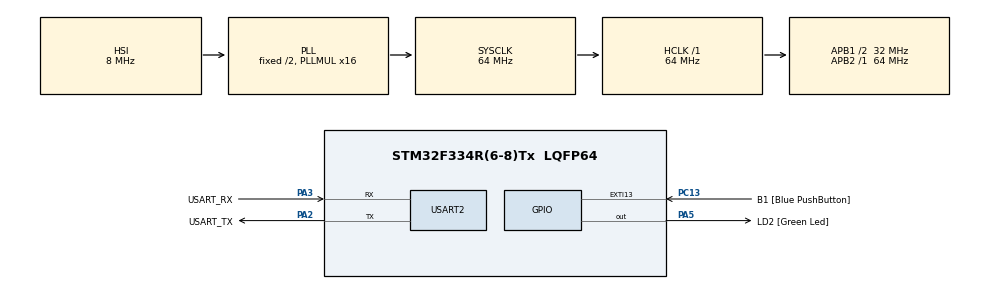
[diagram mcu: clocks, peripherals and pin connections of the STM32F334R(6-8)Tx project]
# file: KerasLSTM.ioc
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Mcu.Family=STM32F3
Mcu.Name=STM32F334R(6-8)Tx
Mcu.Package=LQFP64
NVIC.PriorityGroup=NVIC_PRIORITYGROUP_0
PA13.GPIO_Label=TMS
PA13.Mode=Serial_Wire
PA13.Signal=SYS_JTMS-SWDIO
PA14.GPIO_Label=TCK
PA14.Mode=Serial_Wire
PA14.Signal=SYS_JTCK-SWCLK
PA2.GPIO_Label=USART_TX
PA2.Mode=Asynchronous
PA2.Signal=USART2_TX
PA3.GPIO_Label=USART_RX
PA3.Mode=Asynchronous
PA3.Signal=USART2_RX
PA5.GPIO_Label=LD2 [Green Led]
PA5.Signal=GPIO_Output
PB3.GPIO_Label=SWO
PB3.Signal=SYS_JTDO-TRACESWO
PC13.GPIO_Label=B1 [Blue PushButton]
PC13.GPIO_ModeDefaultEXTI=GPIO_MODE_IT_FALLING
PC13.Signal=GPXTI13
PC14\ /\ OSC32_IN.Mode=LSE-External-Oscillator
PC14\ /\ OSC32_IN.Signal=RCC_OSC32_IN
PC15\ /\ OSC32_OUT.GPIO_Label=RCC_OSC32_OUT
PC15\ /\ OSC32_OUT.Mode=LSE-External-Oscillator
PC15\ /\ OSC32_OUT.Signal=RCC_OSC32_OUT
PF0\ /\ OSC_IN.Mode=HSE-External-Clock-Source
PF0\ /\ OSC_IN.Signal=RCC_OSC_IN
PF1\ /\ OSC_OUT.Signal=RCC_OSC_OUT
ProjectManager.HeapSize=0x800
ProjectManager.StackSize=0x800
ProjectManager.TargetToolchain=STM32CubeIDE
RCC.AHBFreq_Value=64000000
RCC.APB1CLKDivider=RCC_HCLK_DIV2
RCC.APB1Freq_Value=32000000
RCC.APB1TimFreq_Value=64000000
RCC.APB2Freq_Value=64000000
RCC.APB2TimFreq_Value=64000000
RCC.CortexFreq_Value=64000000
RCC.FLatency-AdvancedSettings=FLASH_LATENCY_2
RCC.HCLKFreq_Value=64000000
RCC.HSE_VALUE=8000000
RCC.HSI_VALUE=8000000
RCC.PLLMUL=RCC_PLL_MUL16
RCC.SYSCLKFreq_VALUE=64000000
RCC.SYSCLKSourceVirtual=RCC_SYSCLKSOURCE_PLLCLK
STMicroelectronics.X-CUBE-AI.8.1.0.ActivationBufferSizeList=3789
STMicroelectronics.X-CUBE-AI.8.1.0.ActivationBuffers=pool0
STMicroelectronics.X-CUBE-AI.8.1.0.ActivationNames=pool0
STMicroelectronics.X-CUBE-AI.8.1.0.ActivationSizes=AI_NETWORK_DATA_ACTIVATION_1_SIZE
STMicroelectronics.X-CUBE-AI.8.1.0.HeapSize=0x800
STMicroelectronics.X-CUBE-AI.8.1.0.InternalRamActivationBufferMaxSize=AI_NETWORK_DATA_ACTIVATIONS_SIZE
STMicroelectronics.X-CUBE-AI.8.1.0.LatestDirectoryUsed-d32e8fefee8304788caedcbb206e30d5a77a8f6bcf1bcf1f12cf88c9c6789609=/home/bernhard/Documents/uni/bachelor_thesis/models
STMicroelectronics.X-CUBE-AI.8.1.0.MaximumNumberOfInputLayer=1
STMicroelectronics.X-CUBE-AI.8.1.0.MaximumNumberOfOutputLayer=1
STMicroelectronics.X-CUBE-AI.8.1.0.MaximumSizeOfInputLayer=AI_NETWORK_IN_1_SIZE_BYTES
STMicroelectronics.X-CUBE-AI.8.1.0.MaximumSizeOfOutputLayer=AI_NETWORK_OUT_1_SIZE_BYTES
STMicroelectronics.X-CUBE-AI.8.1.0.ModelActualCompression-d32e8fefee8304788caedcbb206e30d5a77a8f6bcf1bcf1f12cf88c9c6789609=0.0
STMicroelectronics.X-CUBE-AI.8.1.0.ModelCompression-d32e8fefee8304788caedcbb206e30d5a77a8f6bcf1bcf1f12cf88c9c6789609=None
STMicroelectronics.X-CUBE-AI.8.1.0.ModelFlashOccupation-d32e8fefee8304788caedcbb206e30d5a77a8f6bcf1bcf1f12cf88c9c6789609=35745
STMicroelectronics.X-CUBE-AI.8.1.0.ModelHashList=d32e8fefee8304788caedcbb206e30d5a77a8f6bcf1bcf1f12cf88c9c6789609
STMicroelectronics.X-CUBE-AI.8.1.0.ModelKind-d32e8fefee8304788caedcbb206e30d5a77a8f6bcf1bcf1f12cf88c9c6789609=KERAS
STMicroelectronics.X-CUBE-AI.8.1.0.ModelMacc-d32e8fefee8304788caedcbb206e30d5a77a8f6bcf1bcf1f12cf88c9c6789609=1253920
STMicroelectronics.X-CUBE-AI.8.1.0.ModelName-d32e8fefee8304788caedcbb206e30d5a77a8f6bcf1bcf1f12cf88c9c6789609=network
STMicroelectronics.X-CUBE-AI.8.1.0.ModelNameList=network
STMicroelectronics.X-CUBE-AI.8.1.0.ModelRamOccupation-d32e8fefee8304788caedcbb206e30d5a77a8f6bcf1bcf1f12cf88c9c6789609=3789
STMicroelectronics.X-CUBE-AI.8.1.0.ModelStructureFile-d32e8fefee8304788caedcbb206e30d5a77a8f6bcf1bcf1f12cf88c9c6789609=/home/bernhard/Documents/uni/bachelor_thesis/models/batch1_vanilla_lstm1_Coffee.h5
STMicroelectronics.X-CUBE-AI.8.1.0.ModelType-d32e8fefee8304788caedcbb206e30d5a77a8f6bcf1bcf1f12cf88c9c6789609=Saved model
STMicroelectronics.X-CUBE-AI.8.1.0.ReadyForCodeGeneration=true
STMicroelectronics.X-CUBE-AI.8.1.0.StackSize=0x800
STMicroelectronics.X-CUBE-AI.8.1.0.WorkingBufferStartAddrList=0xFFFFFFFF
STMicroelectronics.X-CUBE-AI.8.1.0.XAaCUBEAaAICcArtificialOoIntelligenceJjCore=true
STMicroelectronics.X-CUBE-AI.8.1.0.copyWeightToRam=false
STMicroelectronics.X-CUBE-AI.8.1.0.copyWeightToRam-d32e8fefee8304788caedcbb206e30d5a77a8f6bcf1bcf1f12cf88c9c6789609=false
STMicroelectronics.X-CUBE-AI.8.1.0.customLayerConfigEnabled=false
STMicroelectronics.X-CUBE-AI.8.1.0.customLayerConfigEnabled-d32e8fefee8304788caedcbb206e30d5a77a8f6bcf1bcf1f12cf88c9c6789609=false
STMicroelectronics.X-CUBE-AI.8.1.0.noOnnxIoTranspose=false
STMicroelectronics.X-CUBE-AI.8.1.0.noOnnxIoTranspose-d32e8fefee8304788caedcbb206e30d5a77a8f6bcf1bcf1f12cf88c9c6789609=false
STMicroelectronics.X-CUBE-AI.8.1.0.useInputAllocation=true
STMicroelectronics.X-CUBE-AI.8.1.0.useInputAllocation-d32e8fefee8304788caedcbb206e30d5a77a8f6bcf1bcf1f12cf88c9c6789609=false
STMicroelectronics.X-CUBE-AI.8.1.0.useOutputAllocation=true
STMicroelectronics.X-CUBE-AI.8.1.0.useOutputAllocation-d32e8fefee8304788caedcbb206e30d5a77a8f6bcf1bcf1f12cf88c9c6789609=false
USART2.VirtualMode-Asynchronous=VM_ASYNC
VP_CRC_VS_CRC.Mode=CRC_Activate
VP_STMicroelectronics.X-CUBE-AI_VS_ArtificialOoIntelligenceJjXAaCUBEAaAI_8.1.0.Mode=ArtificialOoIntelligenceJjXAaCUBEAaAI
board=NUCLEO-F334R8

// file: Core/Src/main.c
/* USER CODE BEGIN Header */
/**
  ******************************************************************************
  * @file           : main.c
  * @brief          : Main program body
  ******************************************************************************
  * @attention
  *
  * Copyright (c) 2024 STMicroelectronics.
  * All rights reserved.
  *
  * This software is licensed under terms that can be found in the LICENSE file
  * in the root directory of this software component.
  * If no LICENSE file comes with this software, it is provided AS-IS.
  *
  ******************************************************************************
  */
/* USER CODE END Header */
#include "main.h"

/* USER CODE BEGIN Includes */
#include "network.h"
#include "network_data.h"
#include "stdlib.h"
#include "stdio.h"
/* USER CODE END Includes */

CRC_HandleTypeDef hcrc;

UART_HandleTypeDef huart2;

/* USER CODE BEGIN PV */
static ai_handle network = AI_HANDLE_NULL;

static ai_u8 activations[AI_NETWORK_DATA_ACTIVATIONS_SIZE];
static ai_float in_data[AI_NETWORK_IN_1_SIZE];
static ai_float out_data[AI_NETWORK_OUT_1_SIZE];

static ai_buffer *ai_input;
static ai_buffer *ai_output;

/* USER CODE END PV */

void SystemClock_Config(void);
static void MX_GPIO_Init(void);
static void MX_CRC_Init(void);
static void MX_USART2_UART_Init(void);

/* USER CODE BEGIN 0 */

void get_input()
{
    for(int i=0; i<AI_NETWORK_IN_1_SIZE; i++)
    {
        in_data[i] = 1.0;
    }
}

void ai_log_error(const ai_error err)
{
  printf("E: AI error - type=%d code=%d\r\n", err.type, err.code);
}

int ai_init()
{
    ai_error error;
    const ai_handle acts[] = {activations};

    error = ai_network_create_and_init(&network, acts, NULL);
    if (error.type != AI_ERROR_NONE)
    {
        ai_log_error(error);
        return -1;
    }

    ai_input = ai_network_inputs_get(network, NULL);
    ai_output = ai_network_outputs_get(network, NULL);

    return 0;
}

int ai_run(const void* in_data, const void* out_data)
{
    ai_i32 n_batch;
    ai_error error;

    ai_input[0].data = AI_HANDLE_PTR(in_data);
    ai_output[0].data = AI_HANDLE_PTR(out_data);

    n_batch = ai_network_run(network, &ai_input[0], &ai_output[0]);
    if (n_batch != 1)
    {
        error = ai_network_get_error(network);
        ai_log_error(error);
        return -1;
    }

    return 0;
}
/* USER CODE END 0 */

int main(void)
{

  /* MCU Configuration--------------------------------------------------------*/

  /* Reset of all peripherals, Initializes the Flash interface and the Systick. */
  HAL_Init();

  /* Configure the system clock */
  SystemClock_Config();

  /* Initialize all configured peripherals */
  MX_GPIO_Init();
  MX_CRC_Init();
  MX_USART2_UART_Init();
  /* USER CODE BEGIN 2 */
  ai_init();
  /* USER CODE END 2 */

  /* Infinite loop */
  while (1)
  {
	  get_input();
	  ai_run(in_data, out_data);
  }
}

void SystemClock_Config(void)
{
  RCC_OscInitTypeDef RCC_OscInitStruct = {0};
  RCC_ClkInitTypeDef RCC_ClkInitStruct = {0};

  /** Initializes the RCC Oscillators according to the specified parameters
  * in the RCC_OscInitTypeDef structure.
  */
  RCC_OscInitStruct.OscillatorType = RCC_OSCILLATORTYPE_HSI;
  RCC_OscInitStruct.HSIState = RCC_HSI_ON;
  RCC_OscInitStruct.HSICalibrationValue = RCC_HSICALIBRATION_DEFAULT;
  RCC_OscInitStruct.PLL.PLLState = RCC_PLL_ON;
  RCC_OscInitStruct.PLL.PLLSource = RCC_PLLSOURCE_HSI;
  RCC_OscInitStruct.PLL.PLLMUL = RCC_PLL_MUL16;
  if (HAL_RCC_OscConfig(&RCC_OscInitStruct) != HAL_OK)
  {
    Error_Handler();
  }

  /** Initializes the CPU, AHB and APB buses clocks
  */
  RCC_ClkInitStruct.ClockType = RCC_CLOCKTYPE_HCLK|RCC_CLOCKTYPE_SYSCLK
                              |RCC_CLOCKTYPE_PCLK1|RCC_CLOCKTYPE_PCLK2;
  RCC_ClkInitStruct.SYSCLKSource = RCC_SYSCLKSOURCE_PLLCLK;
  RCC_ClkInitStruct.AHBCLKDivider = RCC_SYSCLK_DIV1;
  RCC_ClkInitStruct.APB1CLKDivider = RCC_HCLK_DIV2;
  RCC_ClkInitStruct.APB2CLKDivider = RCC_HCLK_DIV1;

  if (HAL_RCC_ClockConfig(&RCC_ClkInitStruct, FLASH_LATENCY_2) != HAL_OK)
  {
    Error_Handler();
  }
}

static void MX_CRC_Init(void)
{

  hcrc.Instance = CRC;
  hcrc.Init.DefaultPolynomialUse = DEFAULT_POLYNOMIAL_ENABLE;
  hcrc.Init.DefaultInitValueUse = DEFAULT_INIT_VALUE_ENABLE;
  hcrc.Init.InputDataInversionMode = CRC_INPUTDATA_INVERSION_NONE;
  hcrc.Init.OutputDataInversionMode = CRC_OUTPUTDATA_INVERSION_DISABLE;
  hcrc.InputDataFormat = CRC_INPUTDATA_FORMAT_BYTES;
  if (HAL_CRC_Init(&hcrc) != HAL_OK)
  {
    Error_Handler();
  }

}

static void MX_USART2_UART_Init(void)
{

  huart2.Instance = USART2;
  huart2.Init.BaudRate = 38400;
  huart2.Init.WordLength = UART_WORDLENGTH_8B;
  huart2.Init.StopBits = UART_STOPBITS_1;
  huart2.Init.Parity = UART_PARITY_NONE;
  huart2.Init.Mode = UART_MODE_TX_RX;
  huart2.Init.HwFlowCtl = UART_HWCONTROL_NONE;
  huart2.Init.OverSampling = UART_OVERSAMPLING_16;
  huart2.Init.OneBitSampling = UART_ONE_BIT_SAMPLE_DISABLE;
  huart2.AdvancedInit.AdvFeatureInit = UART_ADVFEATURE_NO_INIT;
  if (HAL_UART_Init(&huart2) != HAL_OK)
  {
    Error_Handler();
  }

}

static void MX_GPIO_Init(void)
{
  GPIO_InitTypeDef GPIO_InitStruct = {0};

  /* GPIO Ports Clock Enable */
  __HAL_RCC_GPIOC_CLK_ENABLE();
  __HAL_RCC_GPIOF_CLK_ENABLE();
  __HAL_RCC_GPIOA_CLK_ENABLE();
  __HAL_RCC_GPIOB_CLK_ENABLE();

  /*Configure GPIO pin Output Level */
  HAL_GPIO_WritePin(LD2_GPIO_Port, LD2_Pin, GPIO_PIN_RESET);

  /*Configure GPIO pin : B1_Pin */
  GPIO_InitStruct.Pin = B1_Pin;
  GPIO_InitStruct.Mode = GPIO_MODE_IT_FALLING;
  GPIO_InitStruct.Pull = GPIO_NOPULL;
  HAL_GPIO_Init(B1_GPIO_Port, &GPIO_InitStruct);

  /*Configure GPIO pin : LD2_Pin */
  GPIO_InitStruct.Pin = LD2_Pin;
  GPIO_InitStruct.Mode = GPIO_MODE_OUTPUT_PP;
  GPIO_InitStruct.Pull = GPIO_NOPULL;
  GPIO_InitStruct.Speed = GPIO_SPEED_FREQ_LOW;
  HAL_GPIO_Init(LD2_GPIO_Port, &GPIO_InitStruct);

}

void Error_Handler(void)
{
  __disable_irq();
  while (1)
  {
  }
}
